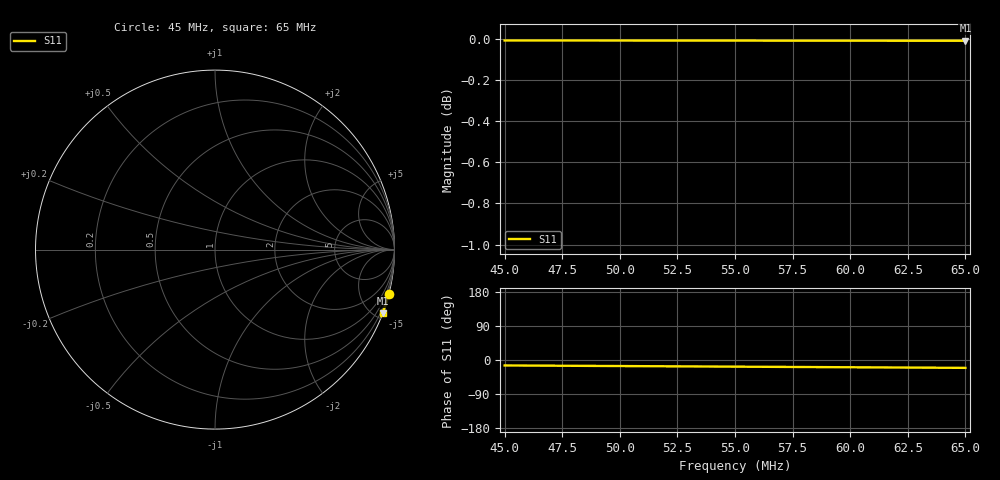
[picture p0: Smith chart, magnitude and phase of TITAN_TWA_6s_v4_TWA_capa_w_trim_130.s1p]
! Touchstone file from project TITAN_TWA_6s_v4
! Exported from HFSS 2019.2.0
! Variables:
!  c_gap = 10mm
!  c_l = 130mm
!  c_t = 35mm
!  c_w = 220mm
!  cb_l = 240mm
!  s_t = 15mm
!  s_w = 200mm
!  sc_d = 10mm
!  t_r = 80mm
!  t_t_fillet = 10mm
!  t_th = 25mm
!  t_tr = 75mm
!  t_vac_fillet = 10mm
!  t_vac_h = 25mm
!  t_voff = 15mm
!Data is not renormalized
# GHZ S MA
! Modal data exported
! Port[1] = 1:1
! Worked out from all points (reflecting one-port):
!   201 points, 45 MHz to 65 MHz, reference per port
!   lowest |S11| = 0.0 dB at 65 MHz (marker M1)
!   phase of S11 starts at -14 deg and turns -6 deg over the sweep
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0.045  0.9991 -14.4
! Gamma ! 0.00327124036312125 0.946413497195697
! Port Impedance7.72770632804089 -0.0267067644641457
0.0456  0.9991 -14.6
0.0462  0.9991 -14.8
0.0468  0.9991 -14.9
0.0475  0.9991 -15.2
0.0481  0.9991 -15.4
0.0487  0.9991 -15.6
0.0493  0.9991 -15.7
0.05  0.9991 -16.0
0.0506  0.9991 -16.2
0.0512  0.9991 -16.3
0.0518  0.9991 -16.5
0.0525  0.9991 -16.8
0.0537  0.9991 -17.1
0.0543  0.999 -17.3
0.055  0.999 -17.6
0.0562  0.999 -17.9
0.0568  0.999 -18.1
0.0575  0.999 -18.4
0.0587  0.999 -18.7
0.0593  0.999 -18.9
0.06  0.999 -19.2
0.0612  0.999 -19.5
0.0618  0.999 -19.7
0.0625  0.999 -20.0
0.0637  0.999 -20.3
0.0643  0.999 -20.5
0.065  0.999 -20.8
